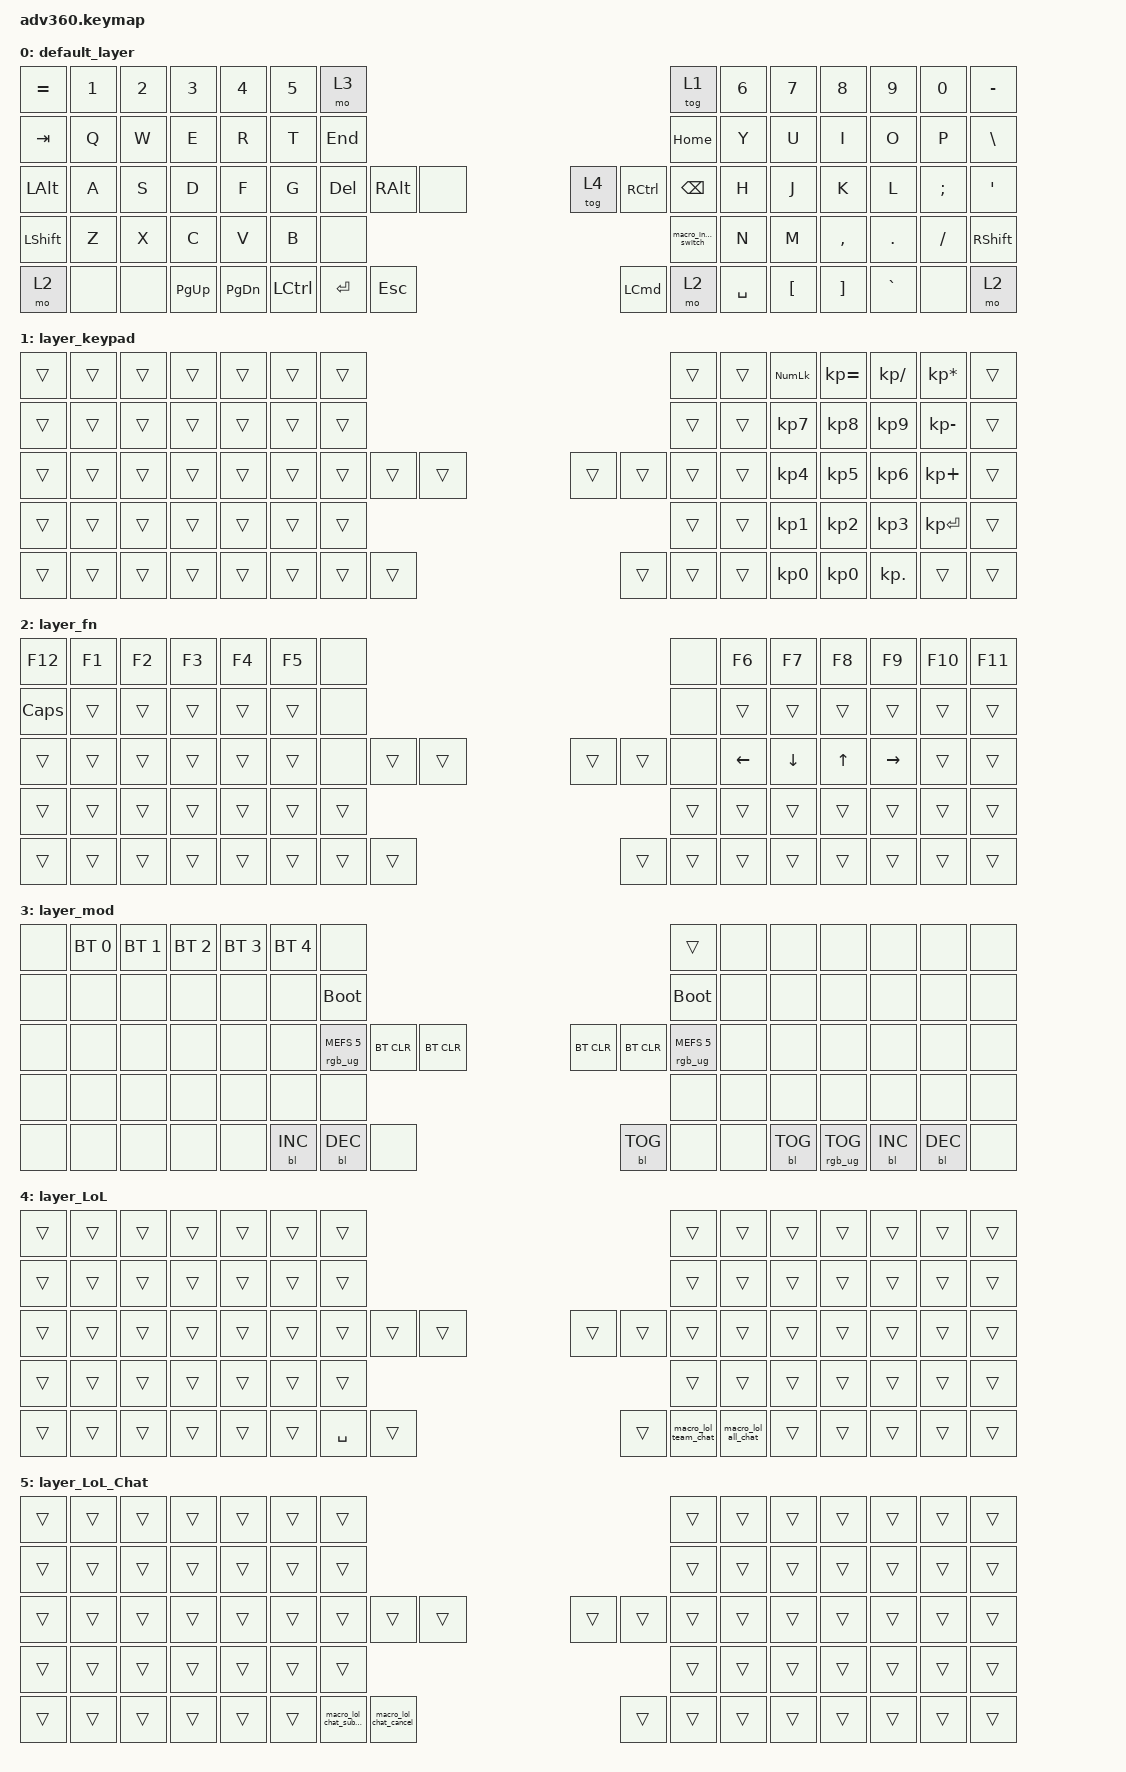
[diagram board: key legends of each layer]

/*
 * Copyright (c) 2020 The ZMK Contributors
 *
 * SPDX-License-Identifier: MIT
 */


/* THIS FILE WAS GENERATED!
 *
 * This file was generated automatically. You may or may not want to
 * edit it directly.
 */

#include <behaviors.dtsi>
#include <dt-bindings/zmk/keys.h>
#include <dt-bindings/zmk/bt.h>
#include <dt-bindings/zmk/rgb.h>
#include <dt-bindings/zmk/backlight.h>

/ {
  behaviors {
    #include "macros.dtsi"

    hm: homerow_mods {
        compatible = "zmk,behavior-hold-tap";
        label = "HOMEROW_MODS";
        #binding-cells = <2>;
        tapping-term-ms = <200>;
        quick_tap_ms = <175>;
        flavor = "tap-preferred";
        bindings = <&kp>, <&kp>;
    };
  };

    keymap {
        compatible = "zmk,keymap";


        default_layer {
            bindings = <
 &kp EQUAL  &kp N1  &kp N2       &kp N3         &kp N4  &kp N5                &mo 3                                                                         &tog 1  &kp N6    &kp N7     &kp N8     &kp N9    &kp N0  &kp MINUS
   &kp TAB   &kp Q   &kp W        &kp E          &kp R   &kp T              &kp END                                                                       &kp HOME   &kp Y     &kp U      &kp I      &kp O     &kp P   &kp BSLH
  &kp LALT   &kp A   &kp S        &kp D          &kp F   &kp G              &kp DEL   &kp RALT    &none                               &tog 4  &kp RCTRL   &kp BSPC   &kp H     &kp J      &kp K      &kp L  &kp SEMI    &kp SQT
 &kp LSHFT   &kp Z   &kp X        &kp C          &kp V   &kp B                                    &none                  &macro_input_switch                         &kp N     &kp M  &kp COMMA    &kp DOT  &kp FSLH  &kp RSHFT
     &mo 2   &none   &none  &kp PAGE_UP  &kp PAGE_DOWN                    &kp LCTRL  &kp ENTER  &kp ESC                             &kp LCMD      &mo 2  &kp SPACE          &kp LBKT   &kp RBKT  &kp GRAVE     &none      &mo 2
            >;
        };

        layer_keypad {
            bindings = <
 &trans  &trans  &trans  &trans  &trans  &trans            &trans                                                  &trans  &trans  &kp KP_NUM  &kp KP_EQUAL  &kp KP_DIVIDE  &kp KP_MULTIPLY  &trans
 &trans  &trans  &trans  &trans  &trans  &trans            &trans                                                  &trans  &trans   &kp KP_N7     &kp KP_N8      &kp KP_N9     &kp KP_MINUS  &trans
 &trans  &trans  &trans  &trans  &trans  &trans            &trans  &trans  &trans                  &trans  &trans  &trans  &trans   &kp KP_N4     &kp KP_N5      &kp KP_N6      &kp KP_PLUS  &trans
 &trans  &trans  &trans  &trans  &trans  &trans                            &trans                  &trans                  &trans   &kp KP_N1     &kp KP_N2      &kp KP_N3     &kp KP_ENTER  &trans
 &trans  &trans  &trans  &trans  &trans                    &trans  &trans  &trans                  &trans  &trans  &trans           &kp KP_N0     &kp KP_N0     &kp KP_DOT           &trans  &trans
            >;
        };

        layer_fn {
            bindings = <
  &kp F12  &kp F1  &kp F2  &kp F3  &kp F4  &kp F5             &none                                                   &none    &kp F6    &kp F7  &kp F8     &kp F9  &kp F10  &kp F11
 &kp CAPS  &trans  &trans  &trans  &trans  &trans             &none                                                   &none    &trans    &trans  &trans     &trans   &trans   &trans
   &trans  &trans  &trans  &trans  &trans  &trans             &none  &trans  &trans                  &trans  &trans   &none  &kp LEFT  &kp DOWN  &kp UP  &kp RIGHT   &trans   &trans
   &trans  &trans  &trans  &trans  &trans  &trans                            &trans                  &trans                    &trans    &trans  &trans     &trans   &trans   &trans
   &trans  &trans  &trans  &trans  &trans                    &trans  &trans  &trans                  &trans  &trans  &trans              &trans  &trans     &trans   &trans   &trans
            >;
        };

        layer_mod {
            bindings = <
  &none  &bt BT_SEL 0  &bt BT_SEL 1  &bt BT_SEL 2  &bt BT_SEL 3  &bt BT_SEL 4                             &none                                                                                  &trans   &none       &none            &none       &none       &none   &none
  &none         &none         &none         &none         &none         &none                       &bootloader                                                                             &bootloader   &none       &none            &none       &none       &none   &none
  &none         &none         &none         &none         &none         &none            &rgb_ug RGB_MEFS_CMD 5  &bt BT_CLR  &bt BT_CLR                  &bt BT_CLR  &bt BT_CLR  &rgb_ug RGB_MEFS_CMD 5   &none       &none            &none       &none       &none   &none
  &none         &none         &none         &none         &none         &none                                                     &none                       &none                                       &none       &none            &none       &none       &none   &none
  &none         &none         &none         &none         &none                                      &bl BL_INC  &bl BL_DEC       &none                  &bl BL_TOG       &none                   &none          &bl BL_TOG  &rgb_ug RGB_TOG  &bl BL_INC  &bl BL_DEC   &none
            >;
        };

        layer_LoL {
            bindings = <
 &trans  &trans  &trans  &trans  &trans  &trans            &trans                                                                                &trans  &trans  &trans  &trans  &trans  &trans  &trans
 &trans  &trans  &trans  &trans  &trans  &trans            &trans                                                                                &trans  &trans  &trans  &trans  &trans  &trans  &trans
 &trans  &trans  &trans  &trans  &trans  &trans            &trans     &trans  &trans                  &trans                &trans               &trans  &trans  &trans  &trans  &trans  &trans  &trans
 &trans  &trans  &trans  &trans  &trans  &trans                               &trans                  &trans                                             &trans  &trans  &trans  &trans  &trans  &trans
 &trans  &trans  &trans  &trans  &trans                    &trans  &kp SPACE  &trans                  &trans  &macro_lol_team_chat  &macro_lol_all_chat          &trans  &trans  &trans  &trans  &trans
            >;
        };

        layer_LoL_Chat {
            bindings = <
 &trans  &trans  &trans  &trans  &trans  &trans            &trans                                                                                  &trans  &trans  &trans  &trans  &trans  &trans  &trans
 &trans  &trans  &trans  &trans  &trans  &trans            &trans                                                                                  &trans  &trans  &trans  &trans  &trans  &trans  &trans
 &trans  &trans  &trans  &trans  &trans  &trans            &trans                  &trans                  &trans                  &trans  &trans  &trans  &trans  &trans  &trans  &trans  &trans  &trans
 &trans  &trans  &trans  &trans  &trans  &trans                                                            &trans                  &trans                  &trans  &trans  &trans  &trans  &trans  &trans
 &trans  &trans  &trans  &trans  &trans                    &trans  &macro_lol_chat_submit  &macro_lol_chat_cancel                  &trans  &trans  &trans          &trans  &trans  &trans  &trans  &trans
            >;
        };

    };
};
